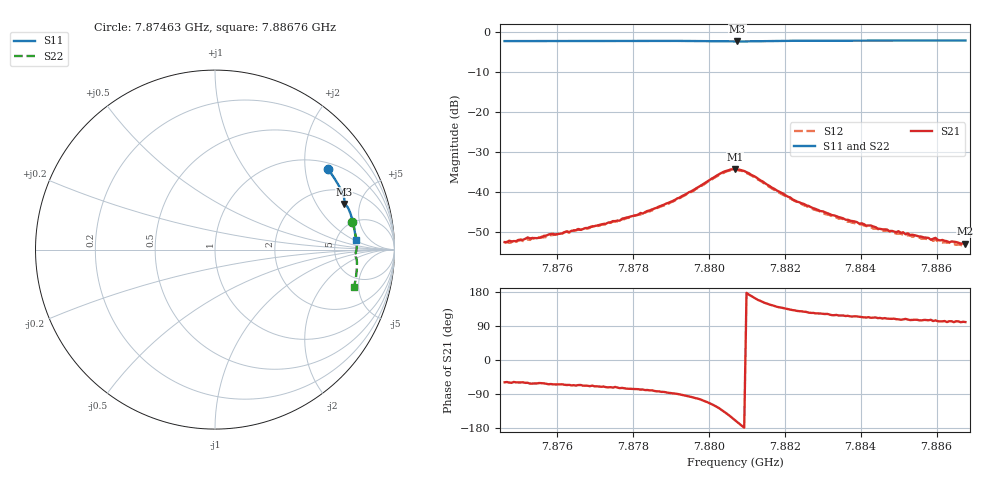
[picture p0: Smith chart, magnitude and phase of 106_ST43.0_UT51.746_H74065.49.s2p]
#  HZ  S  DB  R  50.00
! Rohde & Schwarz Vector Network Analyzer
! Rohde-Schwarz,ZNB20-2Port,1311601062101988,3.16
! Created: UTC 1/12/2023, 6:37:07 PM
! freq[Hz]  db:S11  ang:S11  db:S21  ang:S21  db:S12  ang:S12  db:S22  ang:S22
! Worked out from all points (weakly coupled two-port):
!   201 points, 7.87463 GHz to 7.88676 GHz, reference 50 ohm
!   highest |S21| = -34.30 dB at 7.88069 GHz (marker M1); lowest = -52.9 dB at 7.88676 GHz (marker M2)
!   lowest |S11| = -2.3 dB at 7.88075 GHz (marker M3), VSWR 7.45, Z = 145 + j177 ohm
!   |S11| at or under -10 dB: nowhere
!   |S22| runs from -2.2 to -1.9 dB; largest |S21 - S12| = 0.0012
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7.874627e9  -2.25 35.6  -52.56 -58.8  -52.80 -63.1  -2.14 11.6
7.875234e9  -2.24 33.9  -51.39 -60.2  -51.85 -64.1  -2.13 10.2
7.875598e9  -2.23 32.9  -51.42 -61.1  -51.24 -63.9  -2.12 9.2
7.875841e9  -2.22 32.3  -50.53 -63.4  -50.80 -67.0  -2.11 8.7
7.87669e9  -2.21 30.0  -49.30 -67.7  -49.37 -71.3  -2.09 6.7
7.87766e9  -2.20 27.3  -47.20 -74.3  -47.11 -77.4  -2.06 4.4
7.878691e9  -2.19 24.4  -43.66 -82.8  -43.84 -86.8  -2.06 2.0
7.879237e9  -2.21 22.9  -41.42 -90.8  -41.56 -94.4  -2.05 0.6
7.88039e9  -2.32 19.9  -34.99 -135.2  -35.24 -138.6  -2.18 -2.0
7.880693e9  -2.35 19.6  -34.30 -159.3  -34.49 -162.6  -2.21 -2.1
7.880753e9  -2.35 19.5  -34.36 -164.1  -34.54 -167.2  -2.21 -2.2
7.881057e9  -2.30 19.1  -35.30 172.6  -35.52 169.7  -2.16 -2.3
7.882209e9  -2.17 16.1  -41.90 131.6  -41.95 128.4  -2.01 -4.9
7.882755e9  -2.15 14.6  -44.09 124.3  -44.35 120.7  -1.99 -6.1
7.883665e9  -2.13 12.1  -46.97 116.6  -47.47 112.5  -1.96 -8.2
7.884757e9  -2.11 9.3  -49.82 109.0  -49.85 106.3  -1.94 -10.7
7.884999e9  -2.11 8.6  -49.84 107.3  -50.40 103.9  -1.94 -11.2
7.885848e9  -2.10 6.4  -51.95 106.2  -51.88 99.9  -1.93 -13.0
7.88597e9  -2.10 6.1  -51.51 104.6  -51.96 99.7  -1.93 -13.3
7.886091e9  -2.10 5.7  -52.15 101.8  -52.60 100.2  -1.93 -13.6
7.886334e9  -2.09 5.1  -52.62 102.3  -52.62 99.0  -1.92 -14.1
7.886758e9  -2.09 4.0  -52.95 100.2  -53.59 96.2  -1.92 -15.0
